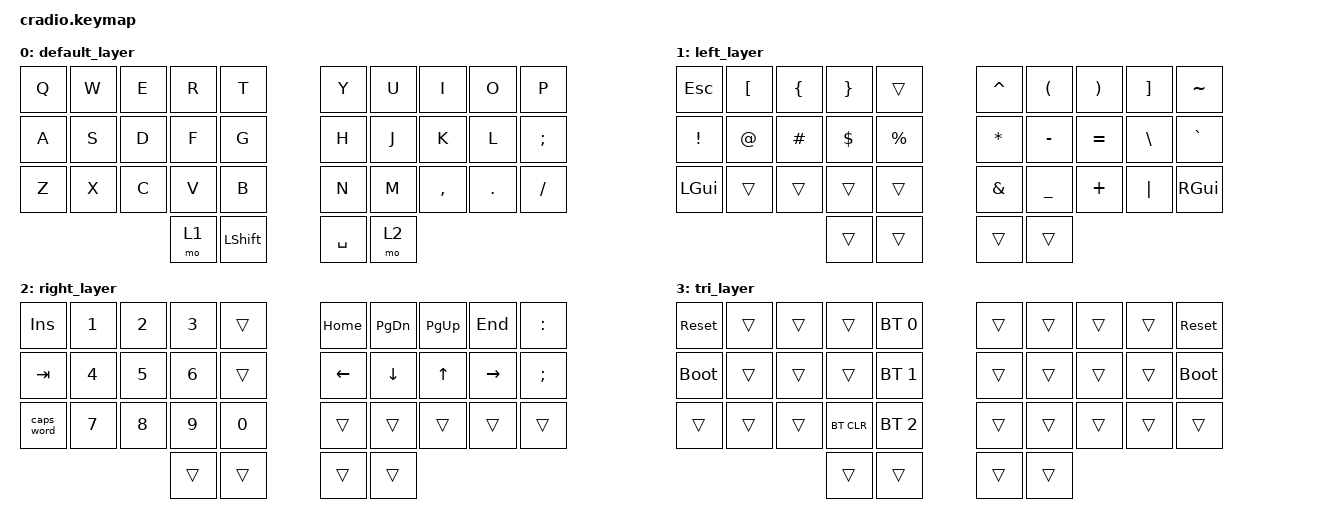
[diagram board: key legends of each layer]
// Copyright (c) 2022 The ZMK Contributors
// SPDX-License-Identifier: MIT

#include <behaviors.dtsi>
#include <dt-bindings/zmk/bt.h>
#include <dt-bindings/zmk/keys.h>

/ {
    behaviors {
        ht: hold_tap {
            compatible = "zmk,behavior-hold-tap";
            #binding-cells = <2>;
            flavor = "tap-preferred";
            tapping-term-ms = <220>;
            quick-tap-ms = <150>;
            require-prior-idle-ms = <100>;
            bindings = <&kp>, <&kp>;
        };

        hrm: hrm {
            compatible = "zmk,behavior-hold-tap";
            #binding-cells = <2>;
            flavor = "tap-preferred";
            tapping-term-ms = <200>;
            quick-tap-ms = <200>;
            require-prior-idle-ms = <125>;
            bindings = <&kp>, <&kp>;
        };
    };

    conditional_layers {
        compatible = "zmk,conditional-layers";

        tri_layer {
            if-layers = <1 2>;
            then-layer = <3>;
        };
    };

    combos {
        compatible = "zmk,combos";

        combo_enter {
            bindings = <&kp ENTER>;
            key-positions = <16 17 18>;
        };

        combo_backspace {
            bindings = <&kp BACKSPACE>;
            key-positions = <16 17>;
        };

        combo_delete {
            bindings = <&kp DEL>;
            key-positions = <17 18>;
        };
    };

    keymap {
        compatible = "zmk,keymap";

        default_layer {
            bindings = <
&kp Q  &kp W  &kp E  &kp R  &kp T             &kp Y      &kp U  &kp I      &kp O    &kp P
&kp A  &kp S  &kp D  &kp F  &kp G             &kp H      &kp J  &kp K      &kp L    &kp SEMICOLON
&kp Z  &kp X  &kp C  &kp V  &kp B             &kp N      &kp M  &kp COMMA  &kp DOT  &kp FSLH
                     &mo 1  &kp LEFT_SHIFT    &kp SPACE  &mo 2
            >;
        };

        left_layer {
            bindings = <
&kp ESC   &kp LBKT  &kp LBRC  &kp RBRC  &trans       &kp CARET  &kp LPAR   &kp RPAR   &kp RBKT  &kp TILDE
&kp EXCL  &kp AT    &kp HASH  &kp DLLR  &kp PRCNT    &kp ASTRK  &kp MINUS  &kp EQUAL  &kp BSLH  &kp GRAVE
&kp LGUI  &trans    &trans    &trans    &trans       &kp AMPS   &kp UNDER  &kp PLUS   &kp PIPE  &kp RGUI
                              &trans    &trans       &trans     &trans
            >;
        };

        right_layer {
            bindings = <
&kp INS     &kp N1  &kp N2  &kp N3  &trans    &kp HOME  &kp PG_DN  &kp PG_UP  &kp END    &kp COLON
&kp TAB     &kp N4  &kp N5  &kp N6  &trans    &kp LEFT  &kp DOWN   &kp UP     &kp RIGHT  &kp SEMI
&caps_word  &kp N7  &kp N8  &kp N9  &kp N0    &trans    &trans     &trans     &trans     &trans
                            &trans  &trans    &trans    &trans
            >;
        };

        tri_layer {
            bindings = <
&sys_reset   &trans  &trans  &trans      &bt BT_SEL 0    &trans  &trans  &trans  &trans  &sys_reset
&bootloader  &trans  &trans  &trans      &bt BT_SEL 1    &trans  &trans  &trans  &trans  &bootloader
&trans       &trans  &trans  &bt BT_CLR  &bt BT_SEL 2    &trans  &trans  &trans  &trans  &trans
                             &trans      &trans          &trans  &trans
            >;
        };
    };
};
